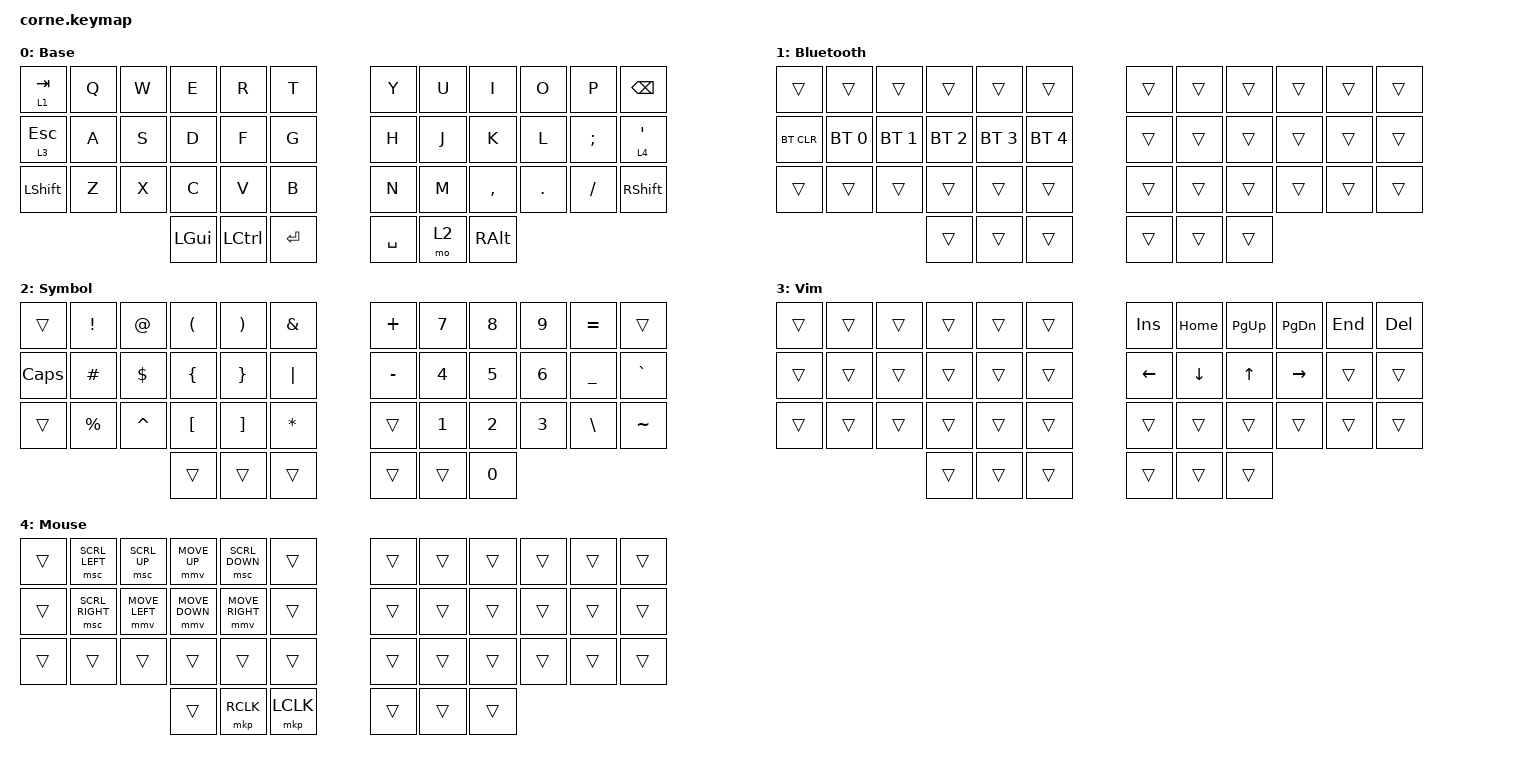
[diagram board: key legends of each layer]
/*
 * Copyright (c) 2020 The ZMK Contributors
 *
 * SPDX-License-Identifier: MIT
 */

#include <behaviors.dtsi>
#include <dt-bindings/zmk/bt.h>
#include <dt-bindings/zmk/keys.h>
#include <dt-bindings/zmk/pointing.h>

/ {
    keymap {
        compatible = "zmk,keymap";

        default_layer {
            // -----------------------------------------------------------------------------------------
            // |  TAB |  Q  |  W  |  E  |  R  |  T  |   |  Y  |  U   |  I  |  O  |  P  | BKSP |
            // | CTRL |  A  |  S  |  D  |  F  |  G  |   |  H  |  J   |  K  |  L  |  ;  |  '   |
            // | SHFT |  Z  |  X  |  C  |  V  |  B  |   |  N  |  M   |  ,  |  .  |  /  | ESC  |
            //                    | GUI | LWR | SPC |   | ENT | RSE  | ALT |

            display-name = "Base";
            bindings = <
&lt 1 TAB     &kp Q  &kp W  &kp E     &kp R      &kp T        &kp Y      &kp U  &kp I      &kp O    &kp P     &kp BSPC
&lt 3 ESCAPE  &kp A  &kp S  &kp D     &kp F      &kp G        &kp H      &kp J  &kp K      &kp L    &kp SEMI  &lt 4 SQT
&kp LSHFT     &kp Z  &kp X  &kp C     &kp V      &kp B        &kp N      &kp M  &kp COMMA  &kp DOT  &kp FSLH  &kp RIGHT_SHIFT
                            &kp LGUI  &kp LCTRL  &kp ENTER    &kp SPACE  &mo 2  &kp RALT
            >;
        };

        bluetooth_layer {
            // -----------------------------------------------------------------------------------------
            // |  TAB |  1  |  2  |  3  |  4  |  5  |   |  6  |  7  |  8  |  9  |  0  | BKSP |
            // | BTCLR| BT1 | BT2 | BT3 | BT4 | BT5 |   | LFT | DWN |  UP | RGT |     |      |
            // | SHFT |     |     |     |     |     |   |     |     |     |     |     |      |
            //                    | GUI |     | SPC |   | ENT |     | ALT |

            display-name = "Bluetooth";
            bindings = <
&trans      &trans        &trans        &trans        &trans        &trans          &trans  &trans  &trans  &trans  &trans  &trans
&bt BT_CLR  &bt BT_SEL 0  &bt BT_SEL 1  &bt BT_SEL 2  &bt BT_SEL 3  &bt BT_SEL 4    &trans  &trans  &trans  &trans  &trans  &trans
&trans      &trans        &trans        &trans        &trans        &trans          &trans  &trans  &trans  &trans  &trans  &trans
                                        &trans        &trans        &trans          &trans  &trans  &trans
            >;
        };

        symbol_layer {
            // -----------------------------------------------------------------------------------------
            // |  TAB |  !  |  @  |  #  |  $  |  %  |   |  ^  |  &  |  *  |  (  |  )  | BKSP |
            // | CTRL |     |     |     |     |     |   |  -  |  =  |  [  |  ]  |  \  |  `   |
            // | SHFT |     |     |     |     |     |   |  _  |  +  |  {  |  }  | "|" |  ~   |
            //                    | GUI |     | SPC |   | ENT |     | ALT |

            display-name = "Symbol";
            bindings = <
&trans    &kp EXCL     &kp AT      &kp LEFT_PARENTHESIS  &kp RIGHT_PARENTHESIS  &kp AMPERSAND    &kp PLUS   &kp NUMBER_7  &kp N8        &kp N9        &kp EQUAL       &trans
&kp CLCK  &kp HASH     &kp DOLLAR  &kp LEFT_BRACE        &kp RIGHT_BRACE        &kp PIPE         &kp MINUS  &kp NUMBER_4  &kp NUMBER_5  &kp NUMBER_6  &kp UNDERSCORE  &kp GRAVE
&trans    &kp PERCENT  &kp CARET   &kp LEFT_BRACKET      &kp RIGHT_BRACKET      &kp ASTERISK     &trans     &kp NUMBER_1  &kp NUMBER_2  &kp NUMBER_3  &kp BACKSLASH   &kp TILDE
                                   &trans                &trans                 &trans           &trans     &trans        &kp N0
            >;
        };

        vim_layer {
            bindings = <
&trans  &trans  &trans  &trans  &trans  &trans    &kp INSERT      &kp HOME        &kp PG_UP     &kp PAGE_DOWN  &kp END  &kp DELETE
&trans  &trans  &trans  &trans  &trans  &trans    &kp LEFT_ARROW  &kp DOWN_ARROW  &kp UP_ARROW  &kp RIGHT      &trans   &trans
&trans  &trans  &trans  &trans  &trans  &trans    &trans          &trans          &trans        &trans         &trans   &trans
                        &trans  &trans  &trans    &trans          &trans          &trans
            >;

            label = "Vim";
        };

        mouse_layer {
            bindings = <
&trans  &msc SCRL_LEFT   &msc SCRL_UP    &mmv MOVE_UP    &msc SCRL_DOWN   &trans       &trans  &trans  &trans  &trans  &trans  &trans
&trans  &msc SCRL_RIGHT  &mmv MOVE_LEFT  &mmv MOVE_DOWN  &mmv MOVE_RIGHT  &trans       &trans  &trans  &trans  &trans  &trans  &trans
&trans  &trans           &trans          &trans          &trans           &trans       &trans  &trans  &trans  &trans  &trans  &trans
                                         &trans          &mkp RCLK        &mkp LCLK    &trans  &trans  &trans
            >;

            label = "Mouse";
        };
    };
};
